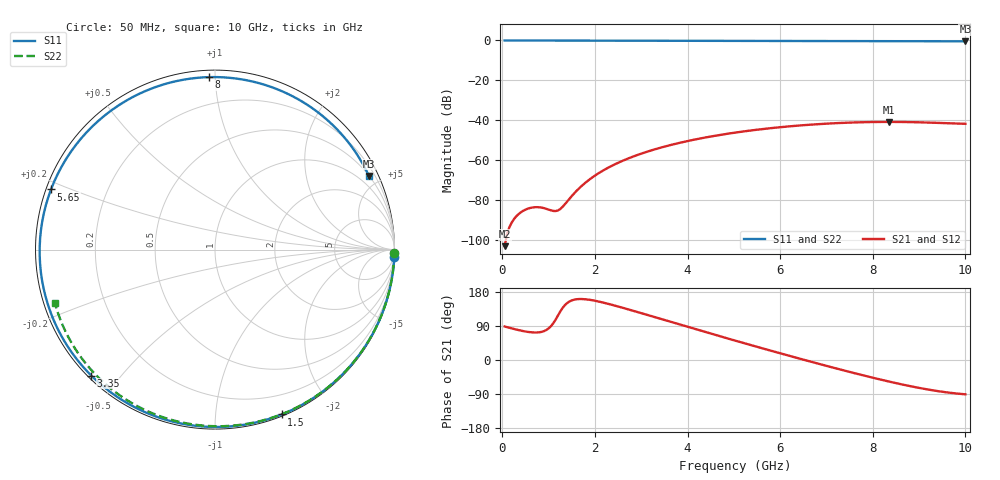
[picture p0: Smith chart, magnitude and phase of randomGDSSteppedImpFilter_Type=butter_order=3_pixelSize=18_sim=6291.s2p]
! freq	dB(S11)	phase(S11)	dB(S12)	phase(S12)
!  dB(S21)	phase(S21)	dB(S22)	phase(S22)
!S-par simulation data
#  GHz  S  DB  R 50
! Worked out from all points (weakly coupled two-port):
!   200 points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, 50 MHz to 10 GHz, reference 50 ohm
!   highest |S21| = -40.81 dB at 8.35 GHz (marker M1); lowest = -103.1 dB at 50 MHz (marker M2)
!   lowest |S11| = -0.4 dB at 10 GHz (marker M3), VSWR 39.31, Z = 25.7 + j218 ohm
!   |S11| at or under -10 dB: nowhere
!   |S22| runs from -0.5 to 0.0 dB; largest |S21 - S12| = 0
!   S11 on the Smith chart (normalised r, x): 50 MHz: 0, -48; 1.5 GHz: 0.01, -1.48; 3.35 GHz: 0.01, -0.42; 5.65 GHz: 0.01, +0.18; 8 GHz: 0.04, +0.96; 10 GHz: 0.51, +4.35
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0.05  -0.00 -2.4  -103.08 88.4  -103.08 88.4  -0.00 -1.0
0.35  -0.02 -16.6  -87.04 78.9  -87.04 78.9  -0.01 -6.6
0.7  -0.04 -32.9  -83.56 72.5  -83.56 72.5  -0.02 -13.2
1.05  -0.06 -48.7  -85.13 89.1  -85.13 89.1  -0.03 -19.7
1.4  -0.08 -63.8  -80.72 150.3  -80.72 150.3  -0.03 -26.2
1.5  -0.08 -68.0  -77.97 157.3  -77.97 157.3  -0.04 -28.0
1.75  -0.09 -78.2  -72.15 160.7  -72.15 160.7  -0.04 -32.6
2.05  -0.10 -89.8  -66.97 155.1  -66.97 155.1  -0.05 -38.0
2.4  -0.11 -102.8  -62.41 144.6  -62.41 144.6  -0.06 -44.3
2.85  -0.13 -118.3  -57.96 129.0  -57.96 129.0  -0.07 -52.2
3.35  -0.14 -134.5  -54.17 111.0  -54.17 111.0  -0.08 -60.9
3.4  -0.14 -136.0  -53.84 109.2  -53.84 109.2  -0.08 -61.7
4.2  -0.17 -159.9  -49.45 80.4  -49.45 80.4  -0.11 -75.1
5.05  -0.21 176.3  -46.10 50.4  -46.10 50.4  -0.14 -88.7
5.65  -0.24 159.9  -44.33 29.6  -44.33 29.6  -0.16 -98.0
6.15  -0.26 146.1  -43.14 12.7  -43.14 12.7  -0.19 -105.6
6.7  -0.29 130.6  -42.13 -5.7  -42.13 -5.7  -0.22 -113.8
7.4  -0.32 110.3  -41.25 -28.3  -41.25 -28.3  -0.27 -124.0
8  -0.34 92.0  -40.87 -46.8  -40.87 -46.8  -0.32 -132.7
8.35  -0.35 81.0  -40.81 -56.9  -40.81 -56.9  -0.35 -137.7
9.15  -0.39 54.7  -41.11 -77.0  -41.11 -77.0  -0.43 -149.2
10  -0.44 25.5  -41.77 -90.6  -41.77 -90.6  -0.53 -161.5
